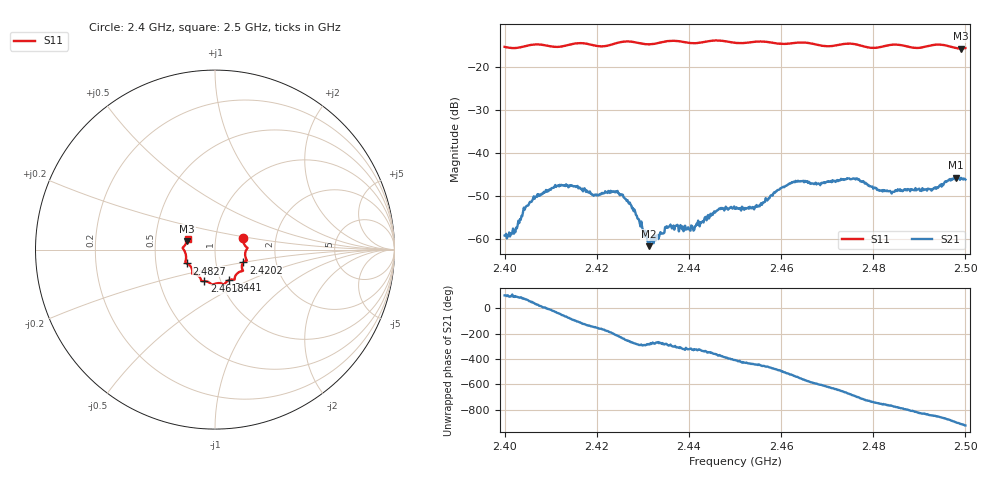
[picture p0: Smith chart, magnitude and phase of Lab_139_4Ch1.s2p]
# Hz S RI R
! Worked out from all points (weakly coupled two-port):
!   601 points, 2.4 GHz to 2.5 GHz, reference 50 ohm
!   highest |S21| = -45.80 dB at 2.498 GHz (marker M1); lowest = -61.7 dB at 2.4313 GHz (marker M2)
!   lowest |S11| = -15.8 dB at 2.499 GHz (marker M3), VSWR 1.39, Z = 36.4 + j3.53 ohm
!   |S11| at or under -10 dB: start of sweep to end of sweep
!   S12 and S22 are empty: the file has one direction only
!   S11 on the Smith chart (normalised r, x): 2.4 GHz: 1.36, +0.17; 2.4202 GHz: 1.36, -0.20; 2.441 GHz: 1.10, -0.39; 2.4618 GHz: 0.84, -0.30; 2.4827 GHz: 0.72, -0.11; 2.5 GHz: 0.73, +0.09
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2.4e9  0.1578 0.0623  -0.000238 0.00106  0 0  0 0
2.402167e9  0.16 0.0365  2.56e-06 0.00123  0 0  0 0
2.406667e9  0.1805 0.00993  0.00255 0.00174  0 0  0 0
2.4115e9  0.1679 -0.0228  0.00333 -0.00244  0 0  0 0
2.416667e9  0.1773 -0.0604  -0.00167 -0.00336  0 0  0 0
2.420167e9  0.1579 -0.0714  -0.00293 -0.00141  0 0  0 0
2.425667e9  0.1556 -0.1165  -0.00171 0.00275  0 0  0 0
2.431333e9  0.1232 -0.1332  0.000199 0.000794  0 0  0 0
2.433333e9  0.1116 -0.1511  -6.54e-05 0.000986  0 0  0 0
2.4355e9  0.1095 -0.1651  0.000498 0.00125  0 0  0 0
2.441e9  0.078 -0.17  0.00107 0.000619  0 0  0 0
2.45e9  0.028 -0.187  0.0015 -0.00164  0 0  0 0
2.455333e9  -0.0133 -0.1954  0.00016 -0.00237  0 0  0 0
2.461833e9  -0.0599 -0.1756  -0.00417 -0.00144  0 0  0 0
2.466667e9  -0.0784 -0.168  -0.00314 0.00305  0 0  0 0
2.476e9  -0.1271 -0.1305  0.00437 0.00242  0 0  0 0
2.482667e9  -0.1563 -0.0772  0.00279 -0.00227  0 0  0 0
2.483333e9  -0.1605 -0.0753  0.0025 -0.00255  0 0  0 0
2.492833e9  -0.1773 0.00394  -0.00217 -0.00309  0 0  0 0
2.498e9  -0.1608 0.0341  -0.00513 4.66e-05  0 0  0 0
2.499e9  -0.155 0.0471  -0.00498 0.00107  0 0  0 0
2.5e9  -0.1522 0.0615  -0.00443 0.002  0 0  0 0
